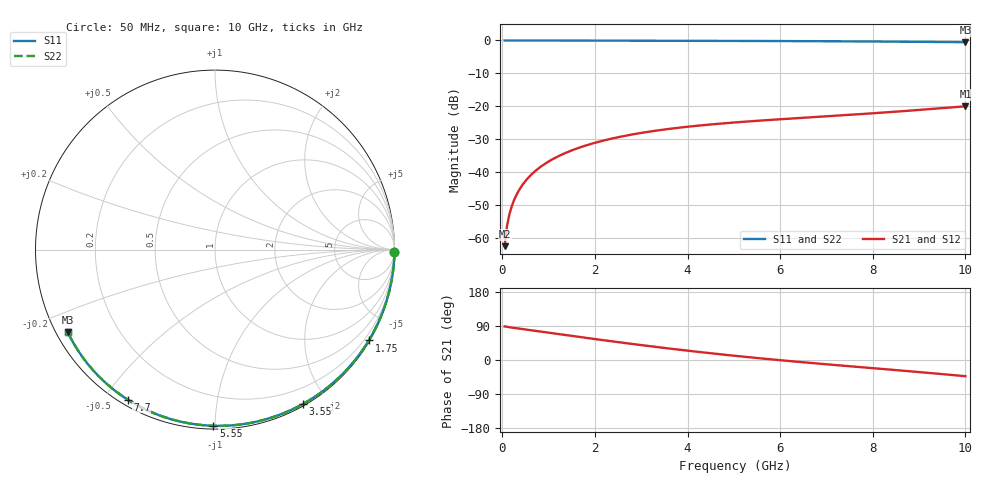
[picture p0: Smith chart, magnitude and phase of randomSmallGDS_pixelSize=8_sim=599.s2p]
! freq	dB(S11)	phase(S11)	dB(S12)	phase(S12)
!  dB(S21)	phase(S21)	dB(S22)	phase(S22)
!S-par simulation data
#  GHz  S  DB  R 50
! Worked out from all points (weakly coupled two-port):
!   200 points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, 50 MHz to 10 GHz, reference 50 ohm
!   highest |S21| = -19.96 dB at 10 GHz (marker M1); lowest = -62.4 dB at 50 MHz (marker M2)
!   lowest |S11| = -0.5 dB at 10 GHz (marker M3), VSWR 32.60, Z = 1.64 - j13 ohm
!   |S11| at or under -10 dB: nowhere
!   |S22| runs from -0.5 to 0.0 dB; largest |S21 - S12| = 0
!   S11 on the Smith chart (normalised r, x): 50 MHz: open; 1.75 GHz: 0.03, -3.66; 3.55 GHz: 0.02, -1.72; 5.55 GHz: 0.02, -0.99; 7.7 GHz: 0.02, -0.57; 10 GHz: 0.03, -0.26
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0.05  -0.00 -0.9  -62.35 88.7  -62.35 88.7  -0.00 -0.9
0.1  -0.00 -1.8  -56.37 87.5  -56.37 87.5  -0.00 -1.8
0.15  -0.00 -2.7  -52.90 86.5  -52.90 86.5  -0.00 -2.7
0.2  -0.00 -3.6  -50.44 85.6  -50.44 85.6  -0.00 -3.6
0.25  -0.00 -4.4  -48.53 84.7  -48.53 84.7  -0.00 -4.4
0.35  -0.00 -6.2  -45.65 83.1  -45.65 83.1  -0.00 -6.2
0.5  -0.01 -8.9  -42.60 80.6  -42.60 80.6  -0.01 -8.9
0.7  -0.01 -12.4  -39.72 77.2  -39.72 77.2  -0.01 -12.4
1  -0.02 -17.6  -36.69 72.1  -36.69 72.1  -0.02 -17.6
1.35  -0.03 -23.7  -34.18 66.2  -34.18 66.2  -0.03 -23.7
1.75  -0.04 -30.5  -32.08 59.4  -32.08 59.4  -0.04 -30.6
2.5  -0.06 -43.2  -29.33 47.2  -29.33 47.2  -0.06 -43.2
3.4  -0.08 -57.8  -27.18 33.3  -27.18 33.3  -0.08 -57.9
3.55  -0.09 -60.2  -26.90 31.1  -26.90 31.1  -0.09 -60.2
4.3  -0.11 -71.9  -25.72 20.5  -25.72 20.5  -0.11 -71.9
5.05  -0.14 -83.2  -24.82 10.7  -24.82 10.7  -0.14 -83.2
5.55  -0.16 -90.5  -24.30 4.7  -24.30 4.7  -0.16 -90.5
6.7  -0.22 -106.7  -23.26 -8.2  -23.26 -8.2  -0.22 -106.7
7.7  -0.29 -120.2  -22.36 -18.5  -22.36 -18.5  -0.29 -120.3
8.35  -0.35 -128.9  -21.73 -25.1  -21.73 -25.1  -0.35 -128.9
9.2  -0.43 -140.1  -20.85 -34.0  -20.85 -34.0  -0.43 -140.1
10  -0.53 -150.8  -19.96 -42.8  -19.96 -42.8  -0.53 -150.8
